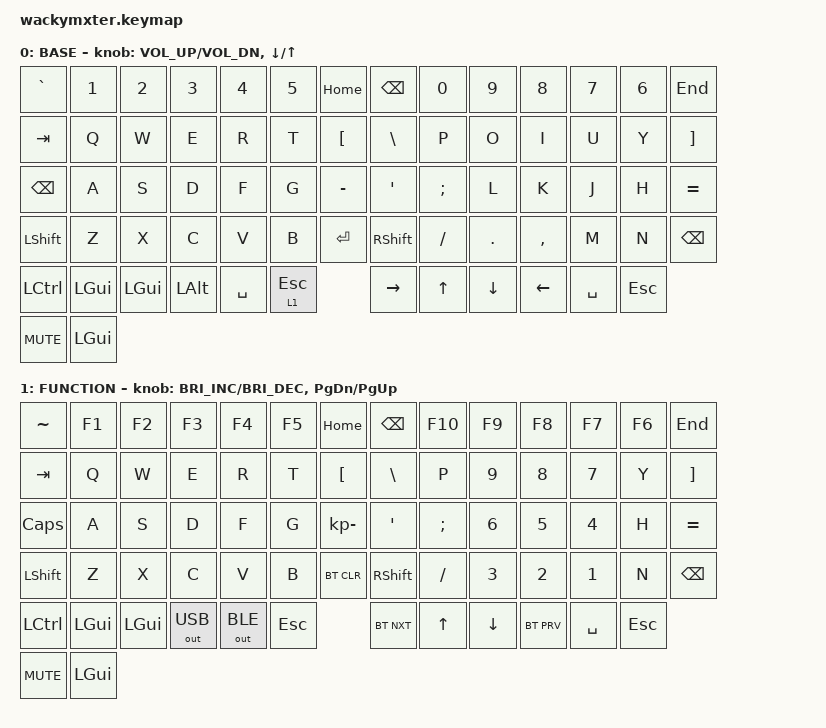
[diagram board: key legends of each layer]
#include <behaviors.dtsi>
#include <dt-bindings/zmk/keys.h>
#include <dt-bindings/zmk/bt.h>
#include <dt-bindings/zmk/outputs.h>

#define BASE 0
#define FUNCTION 1


/ {
    keymap {
        compatible = "zmk,keymap";

        default_layer {
            label= "BASE";
            bindings = <
                &kp GRAVE      &kp N1      &kp N2      &kp N3      &kp N4     &kp N5         &kp HOME      &kp BSPC       &kp N0      &kp N9      &kp N8      &kp N7     &kp N6         &kp END  
                &kp TAB        &kp Q       &kp W       &kp E       &kp R      &kp T          &kp LBKT      &kp BACKSLASH  &kp P       &kp O       &kp I       &kp U      &kp Y          &kp RBKT
                &kp BSPC       &kp A       &kp S       &kp D       &kp F      &kp G          &kp MINUS     &kp SQT        &kp SEMI    &kp L       &kp K       &kp J      &kp H          &kp EQUAL
                &kp LSHFT      &kp Z       &kp X       &kp C       &kp V      &kp B          &kp ENTER     &kp RSHFT      &kp SLASH   &kp PERIOD  &kp COMMA   &kp M      &kp N          &kp BSPC
                &kp LCTRL      &kp LGUI    &kp LGUI    &kp LALT    &kp SPACE  &lt 1 ESC                    &kp RIGHT      &kp UP      &kp DOWN    &kp LEFT    &kp SPACE  &kp ESC 
                &kp C_MUTE     &kp LGUI
            >;

            sensor-bindings = <&inc_dec_kp C_VOL_UP C_VOL_DN &inc_dec_kp DOWN UP>;
        };

        // Hold the middle thumb key to access this layer: functions and bluetooth pairing
        bluetooth_layer {
            label= "FUNCTION";
            bindings = <
                &kp TILDE      &kp F1      &kp F2      &kp F3      &kp F4     &kp F5         &kp HOME      &kp BSPC       &kp F10     &kp F9      &kp F8      &kp F7     &kp F6         &kp END  
                &kp TAB        &kp Q       &kp W       &kp E       &kp R      &kp T          &kp LBKT      &kp BACKSLASH  &kp P       &kp N9      &kp N8      &kp N7     &kp Y          &kp RBKT
                &kp CAPS       &kp A       &kp S       &kp D       &kp F      &kp G          &kp KP_MINUS  &kp SQT        &kp SEMI    &kp N6      &kp N5      &kp N4     &kp H          &kp EQUAL
                &kp LSHFT      &kp Z       &kp X       &kp C       &kp V      &kp B          &bt BT_CLR    &kp RSHFT      &kp SLASH   &kp N3      &kp N2      &kp N1     &kp N          &kp BSPC
                &kp LCTRL      &kp LGUI    &kp LGUI    &out OUT_USB    &out OUT_BLE &kp ESC                &bt BT_NXT     &kp UP      &kp DOWN    &bt BT_PRV  &kp SPACE  &kp ESC 
                &kp C_MUTE     &kp LGUI
            >;

            // Rotary becomes brightness and faster scroll
            sensor-bindings = <&inc_dec_kp C_BRIGHTNESS_INC C_BRIGHTNESS_DEC &inc_dec_kp PAGE_DOWN PAGE_UP>;
        };
    };
};

